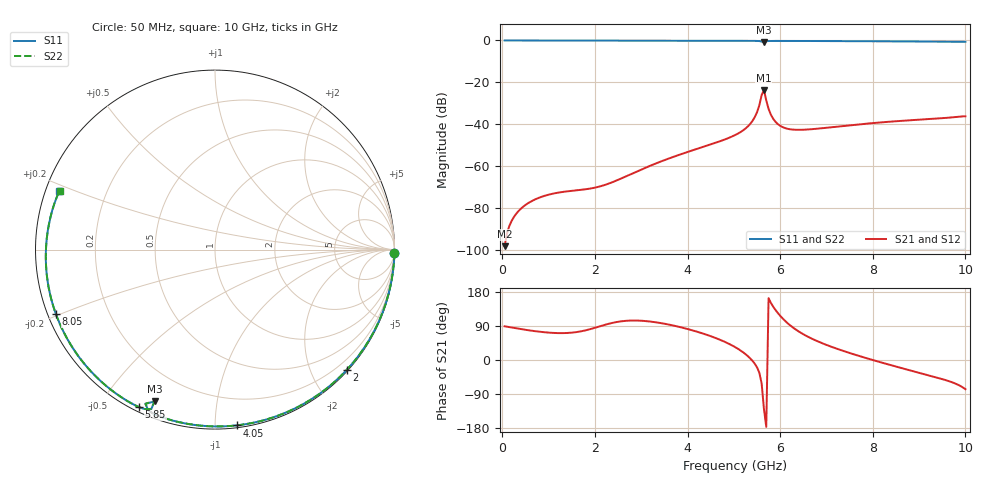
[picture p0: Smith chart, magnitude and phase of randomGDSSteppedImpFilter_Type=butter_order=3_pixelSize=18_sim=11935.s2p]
! freq	dB(S11)	phase(S11)	dB(S12)	phase(S12)
!  dB(S21)	phase(S21)	dB(S22)	phase(S22)
!S-par simulation data
#  GHz  S  DB  R 50
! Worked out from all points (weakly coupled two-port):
!   200 points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, 50 MHz to 10 GHz, reference 50 ohm
!   highest |S21| = -23.58 dB at 5.65 GHz (marker M1); lowest = -98.0 dB at 50 MHz (marker M2)
!   lowest |S11| = -0.8 dB at 5.65 GHz (marker M3), VSWR 21.18, Z = 3.44 - j33.8 ohm
!   |S11| at or under -10 dB: nowhere
!   |S22| runs from -0.8 to 0.0 dB; largest |S21 - S12| = 0
!   S11 on the Smith chart (normalised r, x): 50 MHz: open; 2 GHz: 0.02, -2.59; 4.05 GHz: 0.02, -1.13; 5.85 GHz: 0.02, -0.63; 8.05 GHz: 0.02, -0.20; 10 GHz: 0.04, +0.18
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0.05  -0.00 -1.1  -98.01 88.9  -98.01 88.9  -0.00 -1.1
0.4  -0.01 -8.6  -80.19 81.7  -80.19 81.7  -0.01 -8.6
0.95  -0.03 -20.3  -73.79 72.8  -73.79 72.8  -0.03 -20.3
1.75  -0.05 -37.1  -71.04 76.9  -71.04 76.9  -0.05 -37.1
2  -0.05 -42.3  -70.14 85.0  -70.14 85.0  -0.05 -42.3
3.4  -0.09 -70.4  -57.88 97.9  -57.88 97.9  -0.09 -70.4
4.05  -0.12 -83.0  -52.77 80.2  -52.77 80.2  -0.12 -83.0
5.05  -0.16 -102.0  -44.82 32.4  -44.82 32.4  -0.16 -102.1
5.25  -0.17 -105.9  -41.98 15.6  -41.98 15.6  -0.17 -105.9
5.4  -0.19 -108.9  -38.41 -1.9  -38.41 -1.9  -0.19 -109.0
5.5  -0.22 -111.2  -34.24 -19.3  -34.24 -19.3  -0.22 -111.3
5.6  -0.51 -114.2  -26.07 -61.5  -26.07 -61.5  -0.52 -114.3
5.65  -0.82 -111.7  -23.58 -129.0  -23.58 -129.0  -0.83 -111.7
5.75  -0.27 -113.3  -32.62 163.4  -32.62 163.4  -0.27 -113.4
5.85  -0.23 -115.7  -37.33 140.6  -37.33 140.6  -0.23 -115.8
6  -0.22 -118.8  -40.66 116.8  -40.66 116.8  -0.22 -118.9
6.15  -0.23 -121.7  -42.04 98.3  -42.04 98.3  -0.23 -121.8
6.7  -0.26 -132.0  -42.25 55.4  -42.25 55.4  -0.26 -132.1
8.05  -0.39 -157.8  -39.28 -1.9  -39.28 -1.9  -0.39 -157.9
8.35  -0.42 -163.8  -38.73 -12.2  -38.73 -12.2  -0.42 -163.9
9.2  -0.53 178.2  -37.50 -40.2  -37.50 -40.2  -0.53 178.1
10  -0.66 159.4  -36.16 -77.0  -36.16 -77.0  -0.66 159.2
